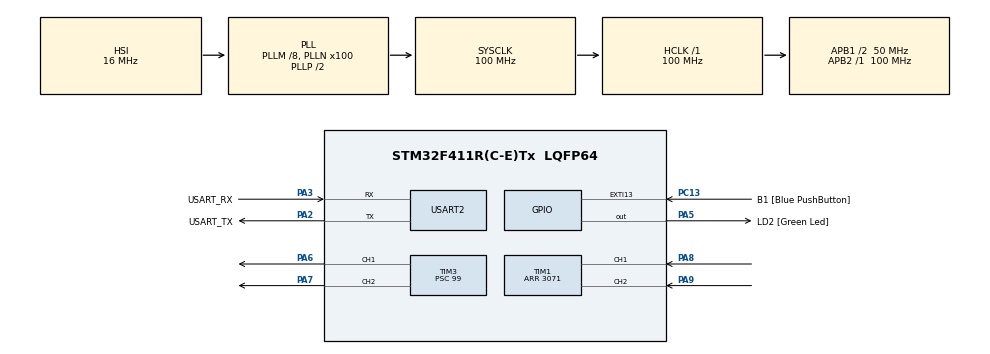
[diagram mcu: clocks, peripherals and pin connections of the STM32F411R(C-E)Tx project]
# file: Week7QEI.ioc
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Mcu.Family=STM32F4
Mcu.Name=STM32F411R(C-E)Tx
Mcu.Package=LQFP64
NVIC.PriorityGroup=NVIC_PRIORITYGROUP_0
NVIC.TIM2_IRQn=true\:0\:0\:false\:false\:true\:true\:true
PA13.GPIO_Label=TMS
PA13.Mode=Serial_Wire
PA13.Signal=SYS_JTMS-SWDIO
PA14.GPIO_Label=TCK
PA14.Mode=Serial_Wire
PA14.Signal=SYS_JTCK-SWCLK
PA2.GPIO_Label=USART_TX
PA2.Mode=Asynchronous
PA2.Signal=USART2_TX
PA3.GPIO_Label=USART_RX
PA3.Mode=Asynchronous
PA3.Signal=USART2_RX
PA5.GPIO_Label=LD2 [Green Led]
PA5.Signal=GPIO_Output
PA6.Signal=S_TIM3_CH1
PA7.Signal=S_TIM3_CH2
PA8.Signal=S_TIM1_CH1
PA9.Signal=S_TIM1_CH2
PB3.GPIO_Label=SWO
PB3.Signal=SYS_JTDO-SWO
PC13-ANTI_TAMP.GPIO_Label=B1 [Blue PushButton]
PC13-ANTI_TAMP.GPIO_ModeDefaultEXTI=GPIO_MODE_IT_FALLING
PC13-ANTI_TAMP.Signal=GPXTI13
PC14-OSC32_IN.Mode=LSE-External-Oscillator
PC14-OSC32_IN.Signal=RCC_OSC32_IN
PC15-OSC32_OUT.Mode=LSE-External-Oscillator
PC15-OSC32_OUT.Signal=RCC_OSC32_OUT
PH0\ -\ OSC_IN.Mode=HSE-External-Clock-Source
PH0\ -\ OSC_IN.Signal=RCC_OSC_IN
PH1\ -\ OSC_OUT.Mode=HSE-External-Clock-Source
PH1\ -\ OSC_OUT.Signal=RCC_OSC_OUT
ProjectManager.HeapSize=0x200
ProjectManager.StackSize=0x400
ProjectManager.TargetToolchain=STM32CubeIDE
RCC.48MHZClocksFreq_Value=50000000
RCC.AHBFreq_Value=100000000
RCC.APB1CLKDivider=RCC_HCLK_DIV2
RCC.APB1Freq_Value=50000000
RCC.APB1TimFreq_Value=100000000
RCC.APB2Freq_Value=100000000
RCC.APB2TimFreq_Value=100000000
RCC.CortexFreq_Value=100000000
RCC.FLatency-AdvancedSettings=FLASH_LATENCY_3
RCC.HCLKFreq_Value=100000000
RCC.HSE_VALUE=8000000
RCC.HSI_VALUE=16000000
RCC.PLLM=8
RCC.PLLN=100
RCC.SYSCLKFreq_VALUE=100000000
RCC.SYSCLKSource=RCC_SYSCLKSOURCE_PLLCLK
RCC.VCOOutputFreq_Value=200000000
SH.S_TIM1_CH1.0=TIM1_CH1,Encoder_Interface
SH.S_TIM1_CH2.0=TIM1_CH2,Encoder_Interface
SH.S_TIM3_CH1.0=TIM3_CH1,PWM Generation1 CH1
SH.S_TIM3_CH2.0=TIM3_CH2,PWM Generation2 CH2
TIM1.EncoderMode=TIM_ENCODERMODE_TI12
TIM1.Period=3071
TIM2.Period=4294967295
TIM2.Prescaler=99
TIM3.Channel-PWM\ Generation1\ CH1=TIM_CHANNEL_1
TIM3.Channel-PWM\ Generation2\ CH2=TIM_CHANNEL_2
TIM3.Period=10000
TIM3.Prescaler=99
TIM3.Pulse-PWM\ Generation1\ CH1=5000
TIM3.Pulse-PWM\ Generation2\ CH2=5000
USART2.VirtualMode=VM_ASYNC
VP_TIM2_VS_ClockSourceINT.Mode=Internal
board=NUCLEO-F411RE

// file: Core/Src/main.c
/* USER CODE BEGIN Header */
/**
 ******************************************************************************
 * @file           : main.c
 * @brief          : Main program body
 ******************************************************************************
 * @attention
 *
 * <h2><center>&copy; Copyright (c) 2021 STMicroelectronics.
 * All rights reserved.</center></h2>
 *
 * This software component is licensed by ST under BSD 3-Clause license,
 * the "License"; You may not use this file except in compliance with the
 * License. You may obtain a copy of the License at:
 *                        opensource.org/licenses/BSD-3-Clause
 *
 ******************************************************************************
 */
/* USER CODE END Header */
#include "main.h"

TIM_HandleTypeDef htim1;
TIM_HandleTypeDef htim2;
TIM_HandleTypeDef htim3;

UART_HandleTypeDef huart2;

/* USER CODE BEGIN PV */
uint64_t _micros = 0;
float EncoderVel = 0;
uint64_t Timestamp_Encoder = 0;

float SetPoint = 0.0;
float PWMOut = 3000;
float Error_Now = 0.0;
float Error_Last = 0.0;
float Sum_Error = 0.0;
float Kp = 0.0;
float Ki = 0.0;
float Kd = 0.0;
float RPM = 0.0;
/* USER CODE END PV */

void SystemClock_Config(void);
static void MX_GPIO_Init(void);
static void MX_USART2_UART_Init(void);
static void MX_TIM1_Init(void);
static void MX_TIM2_Init(void);
static void MX_TIM3_Init(void);
/* USER CODE BEGIN PFP */
uint64_t micros();
float EncoderVelocity_Update();

/* USER CODE END PFP */

int main(void)
{

  /* MCU Configuration--------------------------------------------------------*/

  /* Reset of all peripherals, Initializes the Flash interface and the Systick. */
  HAL_Init();

  /* Configure the system clock */
  SystemClock_Config();

  /* Initialize all configured peripherals */
  MX_GPIO_Init();
  MX_USART2_UART_Init();
  MX_TIM1_Init();
  MX_TIM2_Init();
  MX_TIM3_Init();
  /* USER CODE BEGIN 2 */
	HAL_TIM_Base_Start_IT(&htim2);
	HAL_TIM_Encoder_Start(&htim1, TIM_CHANNEL_ALL);
	HAL_TIM_Base_Start(&htim3);
	HAL_TIM_PWM_Start(&htim3, TIM_CHANNEL_1);
	HAL_TIM_PWM_Start(&htim3, TIM_CHANNEL_2);
  /* USER CODE END 2 */

  /* Infinite loop */
	while (1)
	{

    /* USER CODE BEGIN 3 */

		//RAW Read 1kHz/1ms
//		if (micros() - Timestamp_Encoder >= 1000)
//		{
//			Timestamp_Encoder = micros();
//			EncoderVel = EncoderVelocity_Update();
//		}

		//Add LPF?
		if (micros() - Timestamp_Encoder >= 1000)
		{
			Timestamp_Encoder = micros();
			if (SetPoint > 44.0)
			{
				SetPoint = 44.0;
			}
			else if (SetPoint < -44.0)
			{
				SetPoint = -44.0;
			}
			Error_Now = SetPoint - (EncoderVel*(60.0/3072.0)); // EncoderVel*(60/3072) is in one note and it will be RPM.
			Sum_Error += Error_Now;
			PWMOut = (Kp*Error_Now) + (Ki*Sum_Error) + (Kd*(Error_Now - Error_Last)); //PID equation.
			if (PWMOut < 0)
			{
				__HAL_TIM_SET_COMPARE(&htim3, TIM_CHANNEL_1, 0);
				__HAL_TIM_SET_COMPARE(&htim3, TIM_CHANNEL_2, PWMOut*(-1));
			}
			else
			{
				__HAL_TIM_SET_COMPARE(&htim3, TIM_CHANNEL_1, PWMOut); // if TIM3 increase until it equal to PWMOut. TIM3 will be set to 0 again and start increase again. So that will be PWM.
				__HAL_TIM_SET_COMPARE(&htim3, TIM_CHANNEL_2, 0); // It will make motor rotate.
			}
			EncoderVel = (EncoderVel * 99 + EncoderVelocity_Update()) / 100.0;
			Error_Last = Error_Now;
			RPM = EncoderVel*(60.0/3072.0);
		}

	}
  /* USER CODE END 3 */
}

void SystemClock_Config(void)
{
  RCC_OscInitTypeDef RCC_OscInitStruct = {0};
  RCC_ClkInitTypeDef RCC_ClkInitStruct = {0};

  /** Configure the main internal regulator output voltage
  */
  __HAL_RCC_PWR_CLK_ENABLE();
  __HAL_PWR_VOLTAGESCALING_CONFIG(PWR_REGULATOR_VOLTAGE_SCALE1);
  /** Initializes the RCC Oscillators according to the specified parameters
  * in the RCC_OscInitTypeDef structure.
  */
  RCC_OscInitStruct.OscillatorType = RCC_OSCILLATORTYPE_HSI;
  RCC_OscInitStruct.HSIState = RCC_HSI_ON;
  RCC_OscInitStruct.HSICalibrationValue = RCC_HSICALIBRATION_DEFAULT;
  RCC_OscInitStruct.PLL.PLLState = RCC_PLL_ON;
  RCC_OscInitStruct.PLL.PLLSource = RCC_PLLSOURCE_HSI;
  RCC_OscInitStruct.PLL.PLLM = 8;
  RCC_OscInitStruct.PLL.PLLN = 100;
  RCC_OscInitStruct.PLL.PLLP = RCC_PLLP_DIV2;
  RCC_OscInitStruct.PLL.PLLQ = 4;
  if (HAL_RCC_OscConfig(&RCC_OscInitStruct) != HAL_OK)
  {
    Error_Handler();
  }
  /** Initializes the CPU, AHB and APB buses clocks
  */
  RCC_ClkInitStruct.ClockType = RCC_CLOCKTYPE_HCLK|RCC_CLOCKTYPE_SYSCLK
                              |RCC_CLOCKTYPE_PCLK1|RCC_CLOCKTYPE_PCLK2;
  RCC_ClkInitStruct.SYSCLKSource = RCC_SYSCLKSOURCE_PLLCLK;
  RCC_ClkInitStruct.AHBCLKDivider = RCC_SYSCLK_DIV1;
  RCC_ClkInitStruct.APB1CLKDivider = RCC_HCLK_DIV2;
  RCC_ClkInitStruct.APB2CLKDivider = RCC_HCLK_DIV1;

  if (HAL_RCC_ClockConfig(&RCC_ClkInitStruct, FLASH_LATENCY_3) != HAL_OK)
  {
    Error_Handler();
  }
}

static void MX_TIM1_Init(void)
{

  TIM_Encoder_InitTypeDef sConfig = {0};
  TIM_MasterConfigTypeDef sMasterConfig = {0};

  htim1.Instance = TIM1;
  htim1.Init.Prescaler = 0;
  htim1.Init.CounterMode = TIM_COUNTERMODE_UP;
  htim1.Init.Period = 3071;
  htim1.Init.ClockDivision = TIM_CLOCKDIVISION_DIV1;
  htim1.Init.RepetitionCounter = 0;
  htim1.Init.AutoReloadPreload = TIM_AUTORELOAD_PRELOAD_DISABLE;
  sConfig.EncoderMode = TIM_ENCODERMODE_TI12;
  sConfig.IC1Polarity = TIM_ICPOLARITY_RISING;
  sConfig.IC1Selection = TIM_ICSELECTION_DIRECTTI;
  sConfig.IC1Prescaler = TIM_ICPSC_DIV1;
  sConfig.IC1Filter = 0;
  sConfig.IC2Polarity = TIM_ICPOLARITY_RISING;
  sConfig.IC2Selection = TIM_ICSELECTION_DIRECTTI;
  sConfig.IC2Prescaler = TIM_ICPSC_DIV1;
  sConfig.IC2Filter = 0;
  if (HAL_TIM_Encoder_Init(&htim1, &sConfig) != HAL_OK)
  {
    Error_Handler();
  }
  sMasterConfig.MasterOutputTrigger = TIM_TRGO_RESET;
  sMasterConfig.MasterSlaveMode = TIM_MASTERSLAVEMODE_DISABLE;
  if (HAL_TIMEx_MasterConfigSynchronization(&htim1, &sMasterConfig) != HAL_OK)
  {
    Error_Handler();
  }

}

static void MX_TIM2_Init(void)
{

  TIM_ClockConfigTypeDef sClockSourceConfig = {0};
  TIM_MasterConfigTypeDef sMasterConfig = {0};

  htim2.Instance = TIM2;
  htim2.Init.Prescaler = 99;
  htim2.Init.CounterMode = TIM_COUNTERMODE_UP;
  htim2.Init.Period = 4294967295;
  htim2.Init.ClockDivision = TIM_CLOCKDIVISION_DIV1;
  htim2.Init.AutoReloadPreload = TIM_AUTORELOAD_PRELOAD_DISABLE;
  if (HAL_TIM_Base_Init(&htim2) != HAL_OK)
  {
    Error_Handler();
  }
  sClockSourceConfig.ClockSource = TIM_CLOCKSOURCE_INTERNAL;
  if (HAL_TIM_ConfigClockSource(&htim2, &sClockSourceConfig) != HAL_OK)
  {
    Error_Handler();
  }
  sMasterConfig.MasterOutputTrigger = TIM_TRGO_RESET;
  sMasterConfig.MasterSlaveMode = TIM_MASTERSLAVEMODE_DISABLE;
  if (HAL_TIMEx_MasterConfigSynchronization(&htim2, &sMasterConfig) != HAL_OK)
  {
    Error_Handler();
  }

}

static void MX_TIM3_Init(void)
{

  TIM_MasterConfigTypeDef sMasterConfig = {0};
  TIM_OC_InitTypeDef sConfigOC = {0};

  htim3.Instance = TIM3;
  htim3.Init.Prescaler = 99;
  htim3.Init.CounterMode = TIM_COUNTERMODE_UP;
  htim3.Init.Period = 10000;
  htim3.Init.ClockDivision = TIM_CLOCKDIVISION_DIV1;
  htim3.Init.AutoReloadPreload = TIM_AUTORELOAD_PRELOAD_DISABLE;
  if (HAL_TIM_PWM_Init(&htim3) != HAL_OK)
  {
    Error_Handler();
  }
  sMasterConfig.MasterOutputTrigger = TIM_TRGO_RESET;
  sMasterConfig.MasterSlaveMode = TIM_MASTERSLAVEMODE_DISABLE;
  if (HAL_TIMEx_MasterConfigSynchronization(&htim3, &sMasterConfig) != HAL_OK)
  {
    Error_Handler();
  }
  sConfigOC.OCMode = TIM_OCMODE_PWM1;
  sConfigOC.Pulse = 5000;
  sConfigOC.OCPolarity = TIM_OCPOLARITY_HIGH;
  sConfigOC.OCFastMode = TIM_OCFAST_DISABLE;
  if (HAL_TIM_PWM_ConfigChannel(&htim3, &sConfigOC, TIM_CHANNEL_1) != HAL_OK)
  {
    Error_Handler();
  }
  if (HAL_TIM_PWM_ConfigChannel(&htim3, &sConfigOC, TIM_CHANNEL_2) != HAL_OK)
  {
    Error_Handler();
  }
  HAL_TIM_MspPostInit(&htim3);

}

static void MX_USART2_UART_Init(void)
{

  huart2.Instance = USART2;
  huart2.Init.BaudRate = 115200;
  huart2.Init.WordLength = UART_WORDLENGTH_8B;
  huart2.Init.StopBits = UART_STOPBITS_1;
  huart2.Init.Parity = UART_PARITY_NONE;
  huart2.Init.Mode = UART_MODE_TX_RX;
  huart2.Init.HwFlowCtl = UART_HWCONTROL_NONE;
  huart2.Init.OverSampling = UART_OVERSAMPLING_16;
  if (HAL_UART_Init(&huart2) != HAL_OK)
  {
    Error_Handler();
  }

}

static void MX_GPIO_Init(void)
{
  GPIO_InitTypeDef GPIO_InitStruct = {0};

  /* GPIO Ports Clock Enable */
  __HAL_RCC_GPIOC_CLK_ENABLE();
  __HAL_RCC_GPIOH_CLK_ENABLE();
  __HAL_RCC_GPIOA_CLK_ENABLE();
  __HAL_RCC_GPIOB_CLK_ENABLE();

  /*Configure GPIO pin Output Level */
  HAL_GPIO_WritePin(LD2_GPIO_Port, LD2_Pin, GPIO_PIN_RESET);

  /*Configure GPIO pin : B1_Pin */
  GPIO_InitStruct.Pin = B1_Pin;
  GPIO_InitStruct.Mode = GPIO_MODE_IT_FALLING;
  GPIO_InitStruct.Pull = GPIO_NOPULL;
  HAL_GPIO_Init(B1_GPIO_Port, &GPIO_InitStruct);

  /*Configure GPIO pin : LD2_Pin */
  GPIO_InitStruct.Pin = LD2_Pin;
  GPIO_InitStruct.Mode = GPIO_MODE_OUTPUT_PP;
  GPIO_InitStruct.Pull = GPIO_NOPULL;
  GPIO_InitStruct.Speed = GPIO_SPEED_FREQ_LOW;
  HAL_GPIO_Init(LD2_GPIO_Port, &GPIO_InitStruct);

}

/* USER CODE BEGIN 4 */
#define  HTIM_ENCODER htim1
#define  MAX_SUBPOSITION_OVERFLOW 1536
#define  MAX_ENCODER_PERIOD 3072

float EncoderVelocity_Update()
{
	//Save Last state
	static uint32_t EncoderLastPosition = 0;
	static uint64_t EncoderLastTimestamp = 0;

	//read data
	uint32_t EncoderNowPosition = HTIM_ENCODER.Instance->CNT;
	uint64_t EncoderNowTimestamp = micros();

	int32_t EncoderPositionDiff;
	uint64_t EncoderTimeDiff;

	EncoderTimeDiff = EncoderNowTimestamp - EncoderLastTimestamp;
	EncoderPositionDiff = EncoderNowPosition - EncoderLastPosition;

	//compensate overflow and underflow
	if (EncoderPositionDiff >= MAX_SUBPOSITION_OVERFLOW)
	{
		EncoderPositionDiff -= MAX_ENCODER_PERIOD;
	}
	else if (-EncoderPositionDiff >= MAX_SUBPOSITION_OVERFLOW)
	{
		EncoderPositionDiff += MAX_ENCODER_PERIOD;
	}

	//Update Position and time
	EncoderLastPosition = EncoderNowPosition;
	EncoderLastTimestamp = EncoderNowTimestamp;

	//Calculate velocity
	//EncoderTimeDiff is in uS
	return (EncoderPositionDiff * 1000000) / (float) EncoderTimeDiff; // This is angular velocity in scale "pulse per second

}

void HAL_TIM_PeriodElapsedCallback(TIM_HandleTypeDef *htim)
{
	if (htim == &htim2)
	{
		_micros += 4294967295;
	}
}
uint64_t micros()
{
	return _micros + htim2.Instance->CNT;
}
/* USER CODE END 4 */

void Error_Handler(void)
{
	__disable_irq();
	while (1)
	{
	}
}

/************************ (C) COPYRIGHT STMicroelectronics *****END OF FILE****/
